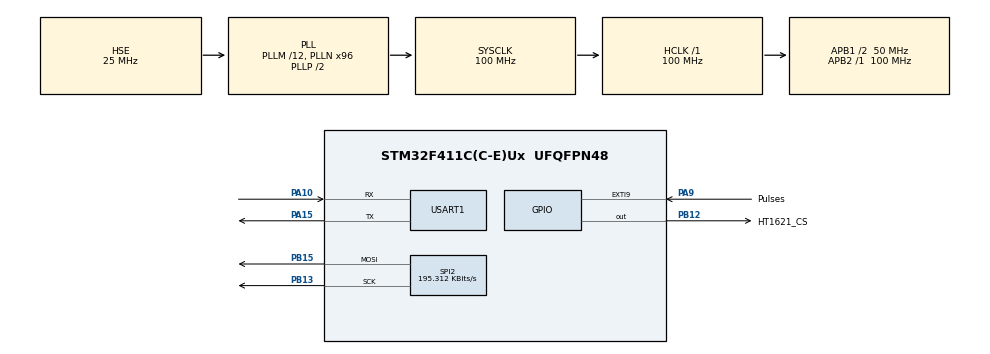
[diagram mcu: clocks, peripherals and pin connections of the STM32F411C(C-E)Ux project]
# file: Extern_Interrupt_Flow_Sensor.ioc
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Mcu.Family=STM32F4
Mcu.Name=STM32F411C(C-E)Ux
Mcu.Package=UFQFPN48
NVIC.EXTI9_5_IRQn=true\:0\:0\:false\:false\:true\:true\:true\:true
NVIC.PriorityGroup=NVIC_PRIORITYGROUP_4
NVIC.USART1_IRQn=true\:0\:0\:false\:false\:true\:true\:true\:true
PA10.Mode=Asynchronous
PA10.Signal=USART1_RX
PA13.Mode=Serial_Wire
PA13.Signal=SYS_JTMS-SWDIO
PA14.Mode=Serial_Wire
PA14.Signal=SYS_JTCK-SWCLK
PA15.Mode=Asynchronous
PA15.Signal=USART1_TX
PA9.GPIO_Label=Pulses
PA9.Signal=GPXTI9
PB12.GPIO_Label=HT1621_CS
PB12.Signal=GPIO_Output
PB13.Mode=TX_Only_Simplex_Unidirect_Master
PB13.Signal=SPI2_SCK
PB15.Mode=TX_Only_Simplex_Unidirect_Master
PB15.Signal=SPI2_MOSI
PH0\ -\ OSC_IN.Mode=HSE-External-Oscillator
PH0\ -\ OSC_IN.Signal=RCC_OSC_IN
PH1\ -\ OSC_OUT.Mode=HSE-External-Oscillator
PH1\ -\ OSC_OUT.Signal=RCC_OSC_OUT
ProjectManager.HeapSize=0x200
ProjectManager.StackSize=0x400
ProjectManager.TargetToolchain=STM32CubeIDE
RCC.48MHZClocksFreq_Value=50000000
RCC.AHBFreq_Value=100000000
RCC.APB1CLKDivider=RCC_HCLK_DIV2
RCC.APB1Freq_Value=50000000
RCC.APB1TimFreq_Value=100000000
RCC.APB2Freq_Value=100000000
RCC.APB2TimFreq_Value=100000000
RCC.CortexFreq_Value=100000000
RCC.HCLKFreq_Value=100000000
RCC.HSE_VALUE=25000000
RCC.HSI_VALUE=16000000
RCC.LSE_VALUE=32768
RCC.PLLM=12
RCC.PLLN=96
RCC.PLLSourceVirtual=RCC_PLLSOURCE_HSE
RCC.SYSCLKFreq_VALUE=100000000
RCC.SYSCLKSource=RCC_SYSCLKSOURCE_PLLCLK
RCC.VCOOutputFreq_Value=200000000
SPI2.BaudRatePrescaler=SPI_BAUDRATEPRESCALER_256
SPI2.CLKPhase=SPI_PHASE_2EDGE
SPI2.CLKPolarity=SPI_POLARITY_HIGH
SPI2.CalculateBaudRate=195.312 KBits/s
SPI2.Direction=SPI_DIRECTION_2LINES
SPI2.Mode=SPI_MODE_MASTER
SPI2.VirtualType=VM_MASTER
USART1.VirtualMode=VM_ASYNC
board=custom

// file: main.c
/*
 *                           SMART-WATER-METER PROJECT  (c) ENG. ERIC MULWA
***************************************************************************************************************
  * @file           : main.c                  426 Lines of COde
  * @brief          : Main program body
  **************************************************************************************************************
  * Copyright (c) ENG. ERIC MULWA
  * All rights reserved.
  *
  *This Project is the Work of ERIC MULWA done at CDED Center, DeKUT During his Final Year External Attachment.
  *
  *The Project is a Smart-Water-Meter that can read the volume of water consumed per day in m^3, Display the volume
  *in the 7-segment display (HT1621) in real time and Send the data wirelessly through an SMS to the User
  * & to the Water Provider servers for billing.
  *
  *************************************************************************************************************
  */
/* USER CODE END Header */
#include "main.h"
/* USER CODE BEGIN Includes */
#include "stdio.h"
#include <string.h>
#include "HT1621.h"
/* USER CODE END Includes */

SPI_HandleTypeDef hspi2;

UART_HandleTypeDef huart1;

/* USER CODE BEGIN PV */
const uint8_t displ_size = 4;

//Motor Control with GSM section 1
#define PREF_SMS_STORAGE "\"SM\""
char ATcommand[80];
uint8_t ATisOK = 0;
uint8_t slot = 0;
uint8_t rx_buffer[100] = {0};
uint8_t rx_index = 0;
uint8_t rx_data;
/* USER CODE END PV */

void SystemClock_Config(void);
static void MX_GPIO_Init(void);
static void MX_SPI2_Init(void);
static void MX_USART1_UART_Init(void);

/* USER CODE BEGIN 0 */
volatile uint32_t pulseCount = 0; //Read interrupt pulses from the Pin

/* USER CODE END 0 */

int main(void)
{

  /* MCU Configuration----------------------------------------------------------------------------------------*/

  /* Reset of all peripherals, Initializes the Flash interface and the Systick. */
  HAL_Init();

  /* Configure the system clock */
  SystemClock_Config();

  /* Initialize all configured peripherals */
  MX_GPIO_Init();
  MX_SPI2_Init();
  MX_USART1_UART_Init();
  /* USER CODE BEGIN 2 */
  HT1621_Init(displ_size);
  HT1621_Clear();
  HT1621_String("HELO", 9);
  HAL_Delay(1000);

  //Motor control with GSM section 2
  // Wait until getting response OK to AT
  while(!ATisOK)
  {
    sprintf(ATcommand,"AT\r\n");
    HAL_UART_Transmit(&huart1,(uint8_t *)ATcommand,strlen(ATcommand),1000);
    HAL_UART_Receive (&huart1, rx_buffer, 100, 100);
    HAL_Delay(1000);
    if(strstr((char *)rx_buffer,"OK"))
    {
      ATisOK = 1;
    }
    HAL_Delay(1000);
    memset(rx_buffer,0,sizeof(rx_buffer));
  }

  // Send AT+CMGF=1
  sprintf(ATcommand,"AT+CMGF=1\r\n");
  HAL_UART_Transmit(&huart1,(uint8_t *)ATcommand,strlen(ATcommand),1000);
  HAL_UART_Receive (&huart1, rx_buffer, 100, 100);
  HAL_Delay(1000);
  memset(rx_buffer,0,sizeof(rx_buffer));
  // Send AT+CNMI=2,1 to enable notification when SMS arrives
  sprintf(ATcommand,"AT+CNMI=2,1\r\n");
  HAL_UART_Transmit(&huart1,(uint8_t *)ATcommand,strlen(ATcommand),1000);
  // Enabling interrupt receive
  HAL_UART_Receive_IT(&huart1,&rx_data,1);// receive data (one character only)
  /* USER CODE END 2 */

  /* Infinite loop */
  while (1)
  {
    /* USER CODE BEGIN 3 */
//Display the water volume in M^3 consumed by the user
	  float Volume = pulseCount * 0.003165;
	  HT1621_Digit(Volume, 0, false, 6);
	  HAL_Delay(500);
//Sending Volume of water Consumed SMS
	  char mobileNumber1[] = "+254796456877";  // User end mobile number.
	  char mobileNumber2[] = "+254796456877";  // Office end mobile number.
	  char ATcommand[80];
	  uint8_t buffer[30] = {0};
	  uint8_t ATisOK = 0; //unsigned 8-bit integer variable named ATisOK, initialized to 0.
	  //loop that will keep running until ATisOK becomes true.
	  while(!ATisOK){
	  		sprintf(ATcommand,"AT\r\n");
	  		HAL_UART_Transmit(&huart1,(uint8_t *)ATcommand,strlen(ATcommand),1000);
	  		HAL_UART_Receive (&huart1, buffer, 30, 100);
	  		HAL_Delay(1000); //Gives GSM module enough time to respond to the AT command.
	  		if(strstr((char *)buffer,"OK")){
	  			ATisOK = 1;
	  		}
	  		HAL_Delay(1000);
	  		memset(buffer,0,sizeof(buffer)); // clears the buffer variable
	  }
	  sprintf(ATcommand,"AT+CMGF=1\r\n"); //sets the GSM module to text mode.
	  HAL_UART_Transmit(&huart1,(uint8_t *)ATcommand,strlen(ATcommand),1000); //sends the ATcommand to the GSM
	  HAL_UART_Receive (&huart1, buffer, 30, 100); //receives response from GSM module and store in the buffer variable
	  HAL_Delay(1000);
	  memset(buffer,0,sizeof(buffer));
	  //send data to user end
	  sprintf(ATcommand,"AT+CMGS=\"%s\"\r\n",mobileNumber1); //sets phone number to send SMS
	  HAL_UART_Transmit(&huart1,(uint8_t *)ATcommand,strlen(ATcommand),1000);
	  HAL_Delay(100);
      sprintf(ATcommand,"Volume of Water consumed is: %.2f%c, Liters", Volume, 0x1a); // format the message with the value of Volume
      HAL_UART_Transmit(&huart1,(uint8_t *)ATcommand,strlen(ATcommand),1000);
      HAL_UART_Receive (&huart1, buffer, 30, 100);
      memset(buffer,0,sizeof(buffer));
      //send data to office end
	  sprintf(ATcommand,"AT+CMGS=\"%s\"\r\n",mobileNumber2); //sets phone number to send SMS
	  HAL_UART_Transmit(&huart1,(uint8_t *)ATcommand,strlen(ATcommand),1000);
	  HAL_Delay(100);
      sprintf(ATcommand,"Volume of Water consumed is: %.2f%c, Liters", Volume, 0x1a); // format the message with the value of Volume
      HAL_UART_Transmit(&huart1,(uint8_t *)ATcommand,strlen(ATcommand),1000);
      HAL_UART_Receive (&huart1, buffer, 30, 100);
      memset(buffer,0,sizeof(buffer));
      HAL_Delay(86400000); //delay for 24 hours

  }
  /* USER CODE END 3 */
}

void SystemClock_Config(void)
{
  RCC_OscInitTypeDef RCC_OscInitStruct = {0};
  RCC_ClkInitTypeDef RCC_ClkInitStruct = {0};

  /** Configure the main internal regulator output voltage
  */
  __HAL_RCC_PWR_CLK_ENABLE();
  __HAL_PWR_VOLTAGESCALING_CONFIG(PWR_REGULATOR_VOLTAGE_SCALE1);

  /** Initializes the RCC Oscillators according to the specified parameters
  * in the RCC_OscInitTypeDef structure.
  */
  RCC_OscInitStruct.OscillatorType = RCC_OSCILLATORTYPE_HSE;
  RCC_OscInitStruct.HSEState = RCC_HSE_ON;
  RCC_OscInitStruct.PLL.PLLState = RCC_PLL_ON;
  RCC_OscInitStruct.PLL.PLLSource = RCC_PLLSOURCE_HSE;
  RCC_OscInitStruct.PLL.PLLM = 12;
  RCC_OscInitStruct.PLL.PLLN = 96;
  RCC_OscInitStruct.PLL.PLLP = RCC_PLLP_DIV2;
  RCC_OscInitStruct.PLL.PLLQ = 4;
  if (HAL_RCC_OscConfig(&RCC_OscInitStruct) != HAL_OK)
  {
    Error_Handler();
  }

  /** Initializes the CPU, AHB and APB buses clocks
  */
  RCC_ClkInitStruct.ClockType = RCC_CLOCKTYPE_HCLK|RCC_CLOCKTYPE_SYSCLK
                              |RCC_CLOCKTYPE_PCLK1|RCC_CLOCKTYPE_PCLK2;
  RCC_ClkInitStruct.SYSCLKSource = RCC_SYSCLKSOURCE_PLLCLK;
  RCC_ClkInitStruct.AHBCLKDivider = RCC_SYSCLK_DIV1;
  RCC_ClkInitStruct.APB1CLKDivider = RCC_HCLK_DIV2;
  RCC_ClkInitStruct.APB2CLKDivider = RCC_HCLK_DIV1;

  if (HAL_RCC_ClockConfig(&RCC_ClkInitStruct, FLASH_LATENCY_3) != HAL_OK)
  {
    Error_Handler();
  }
}

static void MX_SPI2_Init(void)
{

  /* SPI2 parameter configuration*/
  hspi2.Instance = SPI2;
  hspi2.Init.Mode = SPI_MODE_MASTER;
  hspi2.Init.Direction = SPI_DIRECTION_2LINES;
  hspi2.Init.DataSize = SPI_DATASIZE_8BIT;
  hspi2.Init.CLKPolarity = SPI_POLARITY_HIGH;
  hspi2.Init.CLKPhase = SPI_PHASE_2EDGE;
  hspi2.Init.NSS = SPI_NSS_SOFT;
  hspi2.Init.BaudRatePrescaler = SPI_BAUDRATEPRESCALER_256;
  hspi2.Init.FirstBit = SPI_FIRSTBIT_MSB;
  hspi2.Init.TIMode = SPI_TIMODE_DISABLE;
  hspi2.Init.CRCCalculation = SPI_CRCCALCULATION_DISABLE;
  hspi2.Init.CRCPolynomial = 10;
  if (HAL_SPI_Init(&hspi2) != HAL_OK)
  {
    Error_Handler();
  }

}

static void MX_USART1_UART_Init(void)
{

  huart1.Instance = USART1;
  huart1.Init.BaudRate = 115200;
  huart1.Init.WordLength = UART_WORDLENGTH_8B;
  huart1.Init.StopBits = UART_STOPBITS_1;
  huart1.Init.Parity = UART_PARITY_NONE;
  huart1.Init.Mode = UART_MODE_TX_RX;
  huart1.Init.HwFlowCtl = UART_HWCONTROL_NONE;
  huart1.Init.OverSampling = UART_OVERSAMPLING_16;
  if (HAL_UART_Init(&huart1) != HAL_OK)
  {
    Error_Handler();
  }

}

static void MX_GPIO_Init(void)
{
  GPIO_InitTypeDef GPIO_InitStruct = {0};

  /* GPIO Ports Clock Enable */
  __HAL_RCC_GPIOH_CLK_ENABLE();
  __HAL_RCC_GPIOB_CLK_ENABLE();
  __HAL_RCC_GPIOA_CLK_ENABLE();

  /*Configure GPIO pin Output Level */
  HAL_GPIO_WritePin(HT1621_CS_GPIO_Port, HT1621_CS_Pin, GPIO_PIN_RESET);

  /*Configure GPIO pin : HT1621_CS_Pin */
  GPIO_InitStruct.Pin = HT1621_CS_Pin;
  GPIO_InitStruct.Mode = GPIO_MODE_OUTPUT_PP;
  GPIO_InitStruct.Pull = GPIO_NOPULL;
  GPIO_InitStruct.Speed = GPIO_SPEED_FREQ_LOW;
  HAL_GPIO_Init(HT1621_CS_GPIO_Port, &GPIO_InitStruct);

  /*Configure GPIO pin : Pulses_Pin */
  GPIO_InitStruct.Pin = Pulses_Pin;
  GPIO_InitStruct.Mode = GPIO_MODE_IT_RISING;
  GPIO_InitStruct.Pull = GPIO_NOPULL;
  HAL_GPIO_Init(Pulses_GPIO_Port, &GPIO_InitStruct);

  /* EXTI interrupt init*/
  HAL_NVIC_SetPriority(EXTI9_5_IRQn, 0, 0);
  HAL_NVIC_EnableIRQ(EXTI9_5_IRQn);

}

/* USER CODE BEGIN 4 */
void HAL_UART_RxCpltCallback(UART_HandleTypeDef *huart)
{
  if(huart->Instance==USART1)
  {
    // if the character received is other than 'enter' ascii13, save the data in buffer
    if(rx_data!=13)
    {
      rx_buffer[rx_index++]=rx_data;
    }
    else
    {
      // if new message arrived, read the message
      if( sscanf((char*)rx_buffer, "\n+CMTI: " PREF_SMS_STORAGE ",%hhd", &slot)==1)
      {
        sprintf(ATcommand,"AT+CMGR=%d\r\n",slot);
        HAL_UART_Transmit_IT(&huart1,(uint8_t *)ATcommand,strlen(ATcommand));
      }
      // if message read contains "valve-on", Open the ball valve for water to flow
      else if (strstr((char *)rx_buffer,"Valve-on"))
      {
    	  HAL_GPIO_WritePin(GPIOA, GPIO_PIN_0, GPIO_PIN_RESET);
    	  HAL_Delay(2800);
    	  HAL_GPIO_WritePin(GPIOA, GPIO_PIN_0, GPIO_PIN_SET);
    	  HAL_Delay(2000);
      }
      // if message read contains "valve-off", close the ball valve to cut water supply
      else if (strstr((char *)rx_buffer,"valve-off"))
      {
    	  HAL_GPIO_WritePin(GPIOA, GPIO_PIN_1, GPIO_PIN_RESET);
    	  HAL_Delay(2800);
    	  HAL_GPIO_WritePin(GPIOA, GPIO_PIN_1, GPIO_PIN_SET);
    	  HAL_Delay(2000);
      }
      // This will delete all messages in the SIM card.
      if (strstr((char *)rx_buffer,"READ"))
      {
          sprintf(ATcommand,"AT+CMGD=,4\r\n");
          HAL_UART_Transmit_IT(&huart1,(uint8_t *)ATcommand,strlen(ATcommand));
      }
      rx_index=0;
      memset(rx_buffer,0,sizeof(rx_buffer));
    }
    // Enabling interrupt receive again
    HAL_UART_Receive_IT(&huart1,&rx_data,1); // receive data (one character only)
  }
}
/* USER CODE END 4 */

void Error_Handler(void)
{
  __disable_irq();
  while (1)
  {
  }
}
